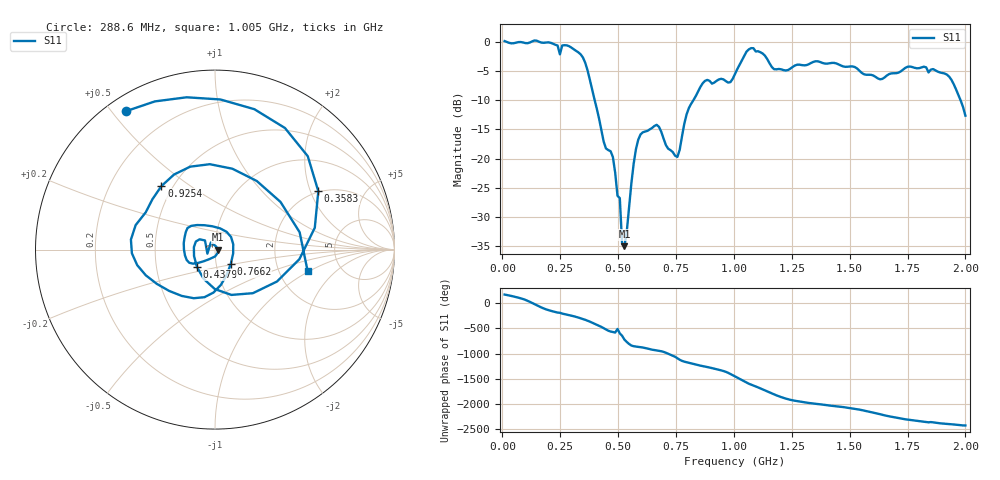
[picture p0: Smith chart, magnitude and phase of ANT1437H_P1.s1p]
!Created with skrf (http://scikit-rf.org).
# Hz S RI R 50.0
!freq ReS11 ImS11
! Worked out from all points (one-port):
!   201 points, 10 MHz to 2 GHz, reference 50 ohm
!   lowest |S11| = -35.0 dB at 527.4 MHz (marker M1), VSWR 1.04, Z = 51.8 - j0.0945 ohm
!   |S11| at or under -10 dB: 399 MHz to 825.3 MHz (426.3 MHz wide, 69.6 % of centre); 1.979 GHz to end of sweep
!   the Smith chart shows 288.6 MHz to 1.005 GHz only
!   S11 on the Smith chart (normalised r, x): 288.6 MHz: 0.06, +0.55; 358.2 MHz: 1.97, +2.27; 437.9 MHz: 0.80, -0.16; 766.2 MHz: 1.18, -0.19; 925.4 MHz: 0.43, +0.39; 1.005 GHz: 2.90, -0.96
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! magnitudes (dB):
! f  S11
! 10 MHz  0.1
! 248.8 MHz  -2.2
! 258.8 MHz  -0.6
! 288.6 MHz  -0.8
! 358.2 MHz  -3.6
! 437.9 MHz  -17.1
! 477.6 MHz  -19.7
! 497.6 MHz  -26.4
! 507.5 MHz  -26.8
! 517.5 MHz  -34.6
! 527.4 MHz  -35.0
! 567.2 MHz  -20.9
! 597 MHz  -15.9
! 666.7 MHz  -14.2
! 756.2 MHz  -19.7
! 766.2 MHz  -18.5
! 806 MHz  -11.3
! 875.6 MHz  -6.7
! 925.4 MHz  -6.7
! 1.005 GHz  -5.5
! 1.075 GHz  -1.1
! 1.174 GHz  -4.7
! 1.254 GHz  -4.3
! 1.502 GHz  -4.2
! 1.632 GHz  -6.4
! 1.751 GHz  -4.3
! 1.92 GHz  -5.6
! 2 GHz  -12.7
